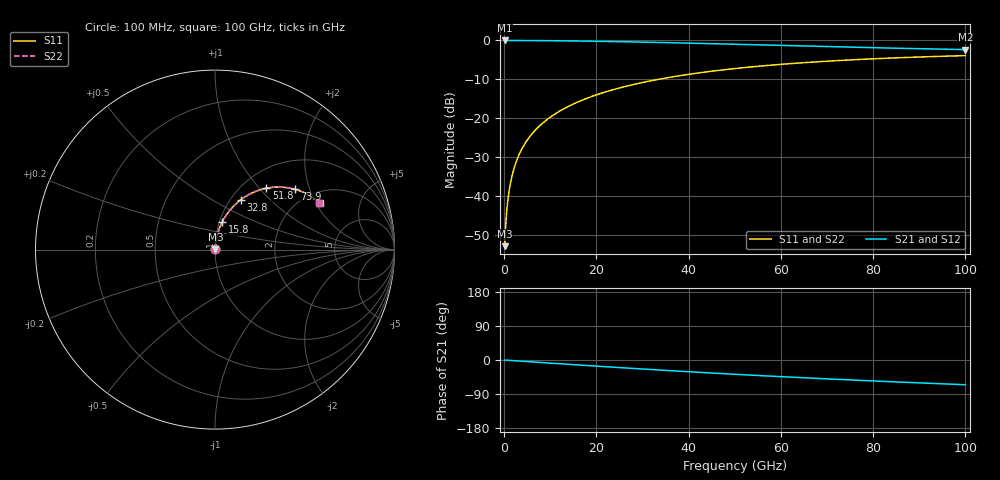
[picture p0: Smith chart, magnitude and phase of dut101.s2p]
! Touchstone file exported from HFSS 2026.1.0
!  File:  C:/ffzhzh/LocalFiles/Ansys_Project_Files/temp_train_RDL_101_1783499129_41296.aedt
!  Generated:  04:26:37 PM Jul  8, 2026
!  Design:  RDL
!  Project:  temp_train_RDL_101_1783499129_41296
! Variables:
!  h_bsmrdl = 2um
!  h_ox = 20um
!  h_rdl = 5um
!  h_sub = 80um
!  h_tmrdl = 2.98um
!  h_tsv = 80um
!  h_via = 3um
!  l_bsmrdl = 300um
!  l_sub = 575.11um
!  l_tmrdl = 175.11um
!  m_sub = 200um
!  pitch = 40.69um
!  r_tsv = 6um
!  s_tmrdl = 10um
!  w_bsmrdl = 18um
!  w_sub = 500um
!  w_tmrdl = 11.37um
!  x_tsv_center1 = 180.795um
!  x_tsv_center2 = 498.795um
!  x_tsv_center3 = 685.275um
!  x_tsv_center4 = 1003.275um
!  x_tsv_center5 = 1189.755um
!  x_tsv_center6 = 1507.755um
# GHz S MA R 50.000000
! Terminal data exported
! Port[1] = TM_RDL1_1_T1
! Port[2] = TM_RDL1_1_T2
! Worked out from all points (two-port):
!   1000 points, 100 MHz to 100 GHz, reference 50 ohm
!   highest |S21| = -0.02 dB at 100 MHz (marker M1); lowest = -2.4 dB at 100 GHz (marker M2)
!   |S21| within 3 dB of the highest: start of sweep to end of sweep
!   lowest |S11| = -52.8 dB at 100 MHz (marker M3), VSWR 1.00, Z = 50.2 + j0.11 ohm
!   |S11| at or under -10 dB: start of sweep to 33.43 GHz
!   |S22| runs from -52.8 to -3.9 dB; largest |S21 - S12| = 4.3e-15
!   S11 on the Smith chart (normalised r, x): 100 MHz: 1.00, +0.00; 15.8 GHz: 1.03, +0.33; 32.8 GHz: 1.11, +0.68; 51.8 GHz: 1.28, +1.09; 73.9 GHz: 1.64, +1.59; 100 GHz: 2.46, +2.15
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0.1  0.002286 28.7  0.998 -0.1  0.998 -0.1  0.002286 28.7
! Gamma 0 0 0 0
! Port Impedance 50 0 50 0
0.4  0.004827 64.1  0.9979 -0.3  0.9979 -0.3  0.004827 64.1
0.9  0.00989 76.2  0.9977 -0.8  0.9977 -0.8  0.00989 76.2
1.2  0.01298 78.9  0.9976 -1.0  0.9976 -1.0  0.01298 78.9
1.5  0.01608 80.4  0.9975 -1.3  0.9975 -1.3  0.01608 80.4
2  0.02127 81.9  0.9974 -1.7  0.9974 -1.7  0.02127 81.9
2.5  0.02647 82.6  0.9972 -2.1  0.9972 -2.1  0.02647 82.6
4  0.04207 83.0  0.9964 -3.3  0.9964 -3.3  0.04207 83.0
6  0.06274 82.2  0.995 -5.0  0.995 -5.0  0.06274 82.2
8.6  0.08929 80.6  0.9924 -7.1  0.9924 -7.1  0.08929 80.6
11.8  0.1213 78.2  0.9883 -9.7  0.9883 -9.7  0.1213 78.2
15.8  0.1603 75.2  0.9819 -12.9  0.9819 -12.9  0.1603 75.3
16.8  0.1699 74.5  0.9801 -13.7  0.9801 -13.7  0.1699 74.5
24  0.2363 69.1  0.9653 -19.3  0.9653 -19.3  0.2363 69.2
32.8  0.3112 62.8  0.943 -25.9  0.943 -25.9  0.3112 62.8
33.4  0.316 62.4  0.9414 -26.3  0.9414 -26.3  0.316 62.4
50.1  0.4354 51.1  0.8919 -37.8  0.8919 -37.8  0.4354 51.2
51.8  0.446 50.0  0.8867 -38.9  0.8867 -38.9  0.446 50.1
66.7  0.5259 41.1  0.8419 -47.9  0.8419 -47.9  0.5259 41.2
73.9  0.5572 37.1  0.8217 -52.0  0.8217 -52.0  0.5572 37.2
83.4  0.592 32.1  0.7973 -57.1  0.7973 -57.1  0.592 32.2
100  0.6375 24.0  0.7619 -65.3  0.7619 -65.3  0.6375 24.1
